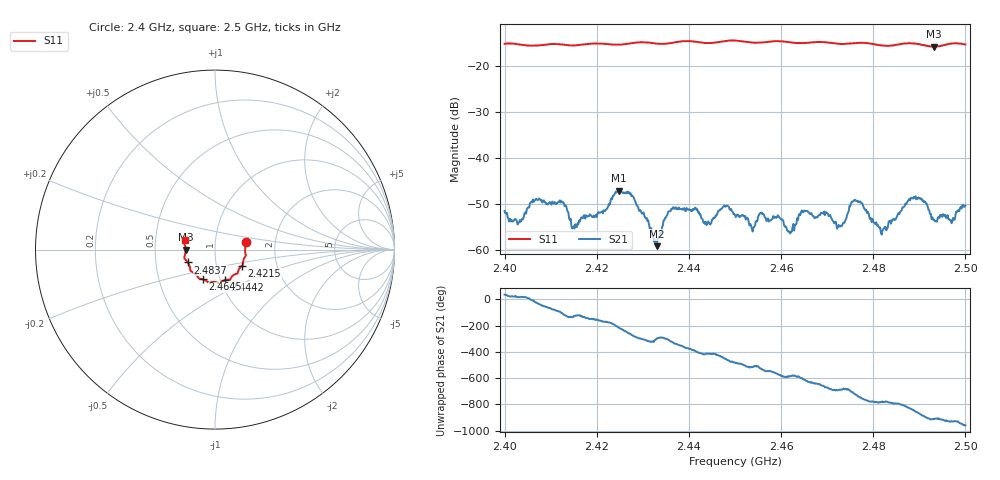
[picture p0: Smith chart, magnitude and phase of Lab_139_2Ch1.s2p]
# Hz S RI R 50
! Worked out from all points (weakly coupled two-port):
!   601 points, 2.4 GHz to 2.5 GHz, reference 50 ohm
!   highest |S21| = -47.05 dB at 2.4248 GHz (marker M1); lowest = -59.1 dB at 2.433 GHz (marker M2)
!   lowest |S11| = -15.7 dB at 2.4932 GHz (marker M3), VSWR 1.39, Z = 35.9 - j0.0519 ohm
!   |S11| at or under -10 dB: start of sweep to end of sweep
!   S12 and S22 are empty: the file has one direction only
!   S11 on the Smith chart (normalised r, x): 2.4 GHz: 1.41, +0.12; 2.4215 GHz: 1.33, -0.25; 2.4442 GHz: 1.05, -0.37; 2.4645 GHz: 0.83, -0.29; 2.4837 GHz: 0.73, -0.11; 2.5 GHz: 0.71, +0.07
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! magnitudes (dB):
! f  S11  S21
! 2.4 GHz  -15.1  -51.5
! 2.4032 GHz  -15.2  -53.9
! 2.4072 GHz  -15.5  -49.1
! 2.4167 GHz  -15.3  -52.8
! 2.4215 GHz  -15.1  -51.3
! 2.4248 GHz  -15.3  -47.1
! 2.4275 GHz  -15.0  -48.2
! 2.433 GHz  -15.1  -59.1
! 2.4333 GHz  -15.1  -57.3
! 2.4367 GHz  -14.8  -50.6
! 2.4442 GHz  -15.0  -53.8
! 2.45 GHz  -14.4  -52.4
! 2.4618 GHz  -14.8  -56.2
! 2.4645 GHz  -15.0  -51.3
! 2.4667 GHz  -14.8  -52.1
! 2.4727 GHz  -15.1  -54.9
! 2.4763 GHz  -14.9  -49.2
! 2.4833 GHz  -15.6  -53.8
! 2.4837 GHz  -15.5  -53.5
! 2.4887 GHz  -15.0  -48.8
! 2.4932 GHz  -15.7  -53.3
! 2.5 GHz  -15.2  -50.3
